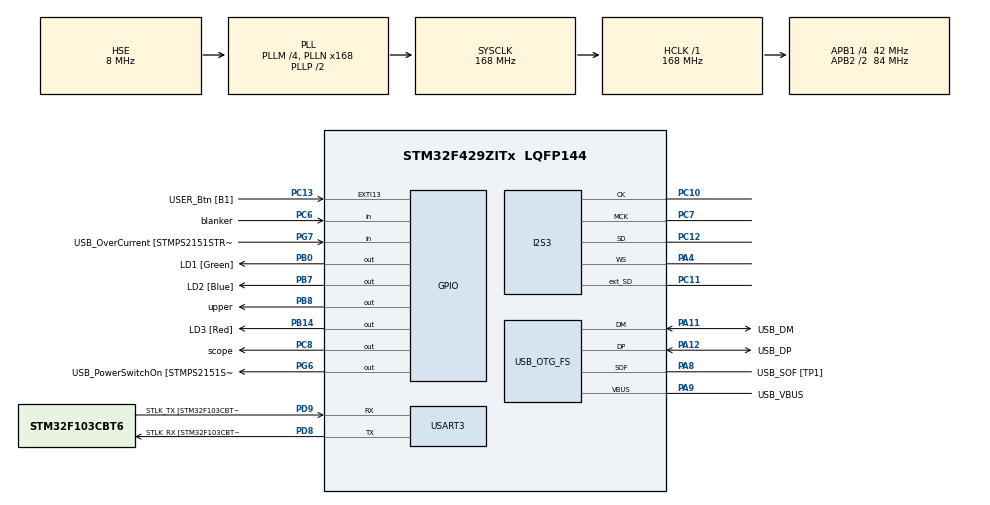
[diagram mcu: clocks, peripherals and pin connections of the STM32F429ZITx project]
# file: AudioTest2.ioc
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Dma.I2S3_EXT_RX.0.Direction=DMA_PERIPH_TO_MEMORY
Dma.I2S3_EXT_RX.0.FIFOMode=DMA_FIFOMODE_DISABLE
Dma.I2S3_EXT_RX.0.Instance=DMA1_Stream0
Dma.I2S3_EXT_RX.0.MemDataAlignment=DMA_MDATAALIGN_HALFWORD
Dma.I2S3_EXT_RX.0.MemInc=DMA_MINC_ENABLE
Dma.I2S3_EXT_RX.0.Mode=DMA_CIRCULAR
Dma.I2S3_EXT_RX.0.PeriphDataAlignment=DMA_PDATAALIGN_HALFWORD
Dma.I2S3_EXT_RX.0.PeriphInc=DMA_PINC_DISABLE
Dma.I2S3_EXT_RX.0.Priority=DMA_PRIORITY_HIGH
Dma.Request0=I2S3_EXT_RX
Dma.Request1=SPI3_TX
Dma.Request2=USART3_TX
Dma.Request3=USART3_RX
Dma.SPI3_TX.1.Direction=DMA_MEMORY_TO_PERIPH
Dma.SPI3_TX.1.FIFOMode=DMA_FIFOMODE_DISABLE
Dma.SPI3_TX.1.Instance=DMA1_Stream5
Dma.SPI3_TX.1.MemDataAlignment=DMA_MDATAALIGN_HALFWORD
Dma.SPI3_TX.1.MemInc=DMA_MINC_ENABLE
Dma.SPI3_TX.1.Mode=DMA_CIRCULAR
Dma.SPI3_TX.1.PeriphDataAlignment=DMA_PDATAALIGN_HALFWORD
Dma.SPI3_TX.1.PeriphInc=DMA_PINC_DISABLE
Dma.SPI3_TX.1.Priority=DMA_PRIORITY_HIGH
Dma.USART3_RX.3.Direction=DMA_PERIPH_TO_MEMORY
Dma.USART3_RX.3.FIFOMode=DMA_FIFOMODE_DISABLE
Dma.USART3_RX.3.Instance=DMA1_Stream1
Dma.USART3_RX.3.MemDataAlignment=DMA_MDATAALIGN_BYTE
Dma.USART3_RX.3.MemInc=DMA_MINC_ENABLE
Dma.USART3_RX.3.Mode=DMA_NORMAL
Dma.USART3_RX.3.PeriphDataAlignment=DMA_PDATAALIGN_BYTE
Dma.USART3_RX.3.PeriphInc=DMA_PINC_DISABLE
Dma.USART3_RX.3.Priority=DMA_PRIORITY_LOW
Dma.USART3_TX.2.Direction=DMA_MEMORY_TO_PERIPH
Dma.USART3_TX.2.FIFOMode=DMA_FIFOMODE_DISABLE
Dma.USART3_TX.2.Instance=DMA1_Stream3
Dma.USART3_TX.2.MemDataAlignment=DMA_MDATAALIGN_BYTE
Dma.USART3_TX.2.MemInc=DMA_MINC_ENABLE
Dma.USART3_TX.2.Mode=DMA_NORMAL
Dma.USART3_TX.2.PeriphDataAlignment=DMA_PDATAALIGN_BYTE
Dma.USART3_TX.2.PeriphInc=DMA_PINC_DISABLE
Dma.USART3_TX.2.Priority=DMA_PRIORITY_LOW
I2S3.AudioFreq=I2S_AUDIOFREQ_96K
I2S3.DataFormat=I2S_DATAFORMAT_24B
I2S3.ErrorAudioFreq=-2.34 %
I2S3.FullDuplexMode=I2S_FULLDUPLEXMODE_ENABLE
I2S3.Instance=SPI$Index
I2S3.RealAudioFreq=93.75 KHz
I2S3.VirtualMode=I2S_MODE_MASTER
Mcu.Family=STM32F4
Mcu.Name=STM32F429ZITx
Mcu.Package=LQFP144
NVIC.DMA1_Stream0_IRQn=true\:0\:0\:false\:false\:true\:false\:true
NVIC.DMA1_Stream1_IRQn=true\:0\:0\:false\:false\:true\:false\:true
NVIC.DMA1_Stream3_IRQn=true\:0\:0\:false\:false\:true\:false\:true
NVIC.DMA1_Stream5_IRQn=true\:0\:0\:false\:false\:true\:false\:true
NVIC.PriorityGroup=NVIC_PRIORITYGROUP_4
PA11.GPIO_Label=USB_DM
PA11.Mode=Device_Only
PA11.Signal=USB_OTG_FS_DM
PA12.GPIO_Label=USB_DP
PA12.Mode=Device_Only
PA12.Signal=USB_OTG_FS_DP
PA13.GPIO_Label=TMS
PA13.Mode=Serial_Wire
PA13.Signal=SYS_JTMS-SWDIO
PA14.GPIO_Label=TCK
PA14.Mode=Serial_Wire
PA14.Signal=SYS_JTCK-SWCLK
PA4.Mode=Full_Duplex_Master
PA4.Signal=I2S3_WS
PA8.GPIO_Label=USB_SOF [TP1]
PA8.Mode=Activate_SOF_FS
PA8.Signal=USB_OTG_FS_SOF
PA9.GPIO_Label=USB_VBUS
PA9.Mode=Activate_VBUS
PA9.Signal=USB_OTG_FS_VBUS
PB0.GPIO_Label=LD1 [Green]
PB0.Signal=GPIO_Output
PB14.GPIO_Label=LD3 [Red]
PB14.Signal=GPIO_Output
PB7.GPIO_Label=LD2 [Blue]
PB7.Signal=GPIO_Output
PB8.GPIO_Label=upper
PB8.GPIO_Speed=GPIO_SPEED_FREQ_VERY_HIGH
PB8.PinState=GPIO_PIN_RESET
PB8.Signal=GPIO_Output
PC10.Mode=Full_Duplex_Master
PC10.Signal=I2S3_CK
PC11.Mode=Full_Duplex_Master
PC11.Signal=I2S3_ext_SD
PC12.Mode=Full_Duplex_Master
PC12.Signal=I2S3_SD
PC13.GPIO_Label=USER_Btn [B1]
PC13.Signal=GPXTI13
PC14/OSC32_IN.Mode=LSE-External-Oscillator
PC14/OSC32_IN.Signal=RCC_OSC32_IN
PC15/OSC32_OUT.Mode=LSE-External-Oscillator
PC15/OSC32_OUT.Signal=RCC_OSC32_OUT
PC6.GPIO_Label=blanker
PC6.Signal=GPIO_Input
PC7.Mode=Master_Clock_Activated
PC7.Signal=I2S3_MCK
PC8.GPIO_Label=scope
PC8.GPIO_Speed=GPIO_SPEED_FREQ_VERY_HIGH
PC8.Signal=GPIO_Output
PD8.GPIO_Label=STLK_RX [STM32F103CBT6_PA3]
PD8.Mode=Asynchronous
PD8.Signal=USART3_TX
PD9.GPIO_Label=STLK_TX [STM32F103CBT6_PA2]
PD9.Mode=Asynchronous
PD9.Signal=USART3_RX
PG6.GPIO_Label=USB_PowerSwitchOn [STMPS2151STR_EN]
PG6.Signal=GPIO_Output
PG7.GPIO_Label=USB_OverCurrent [STMPS2151STR_FAULT]
PG7.Signal=GPIO_Input
PH0/OSC_IN.GPIO_Label=MCO [STM32F103CBT6_PA8]
PH0/OSC_IN.Mode=HSE-External-Clock-Source
PH0/OSC_IN.Signal=RCC_OSC_IN
PH1/OSC_OUT.Mode=HSE-External-Clock-Source
PH1/OSC_OUT.Signal=RCC_OSC_OUT
ProjectManager.HeapSize=0x200
ProjectManager.StackSize=0x400
ProjectManager.TargetToolchain=STM32CubeIDE
RCC.48MHZClocksFreq_Value=48000000
RCC.AHBFreq_Value=168000000
RCC.APB1CLKDivider=RCC_HCLK_DIV4
RCC.APB1Freq_Value=42000000
RCC.APB1TimFreq_Value=84000000
RCC.APB2CLKDivider=RCC_HCLK_DIV2
RCC.APB2Freq_Value=84000000
RCC.APB2TimCLKDivider=2
RCC.APB2TimFreq_Value=168000000
RCC.CortexFreq_Value=168000000
RCC.HCLKFreq_Value=168000000
RCC.HSE_VALUE=8000000
RCC.HSI_VALUE=16000000
RCC.PLLM=4
RCC.PLLMUL=RCC_PLL_MUL9
RCC.PLLN=168
RCC.PLLQ=7
RCC.PRESCALERUSB=RCC_USBCLKSOURCE_PLL_DIV1_5
RCC.SYSCLKFreq_VALUE=168000000
RCC.SYSCLKSource=RCC_SYSCLKSOURCE_PLLCLK
RCC.SYSCLKSourceVirtual=RCC_SYSCLKSOURCE_PLLCLK
RCC.USBFreq_Value=48000000
RCC.VCOOutputFreq_Value=336000000
USART3.VirtualMode=VM_ASYNC
USB_OTG_FS.VirtualMode=Device_Only
VP_CRC_VS_CRC.Mode=CRC_Activate
VP_RNG_VS_RNG.Mode=RNG_Activate
board=NUCLEO-F429ZI

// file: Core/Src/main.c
/* USER CODE BEGIN Header */
/**
  ******************************************************************************
  * @file           : main.c
  * @brief          : Main program body
  ******************************************************************************
  * @attention
  *
  * <h2><center>&copy; Copyright (c) 2021 STMicroelectronics.
  * All rights reserved.</center></h2>
  *
  * This software component is licensed by ST under BSD 3-Clause license,
  * the "License"; You may not use this file except in compliance with the
  * License. You may obtain a copy of the License at:
  *                        opensource.org/licenses/BSD-3-Clause
  *
  ******************************************************************************
  */
/* USER CODE END Header */
#include "main.h"

/* USER CODE BEGIN Includes */
#include <stdio.h>
#include <stdlib.h>
#include <stdbool.h>
#include "fifo_buff.h"

/* USER CODE END Includes */

/* USER CODE BEGIN PD */

#define BUFF_SIZE 10000U /* total size of buffer   = For Test */
#define DAC_SEPERATION 1000U

/* USER CODE END PD */

CRC_HandleTypeDef hcrc;

I2S_HandleTypeDef hi2s3;
DMA_HandleTypeDef hdma_i2s3_ext_rx;
DMA_HandleTypeDef hdma_spi3_tx;

RNG_HandleTypeDef hrng;

UART_HandleTypeDef huart3;
DMA_HandleTypeDef hdma_usart3_tx;
DMA_HandleTypeDef hdma_usart3_rx;

PCD_HandleTypeDef hpcd_USB_OTG_FS;

/* USER CODE BEGIN PV */

// Setup Variables
uint16_t rx_buf[8];
uint16_t tx_buf[8];

fifo_t audioFifo;
fifo_t stateFifo;
fifo_t stateCountFifo;

static bool dac_enable = false;
volatile uint32_t sample_counter = 0;

/* USER CODE END PV */

void SystemClock_Config(void);
static void MX_GPIO_Init(void);
static void MX_DMA_Init(void);
static void MX_USART3_UART_Init(void);
static void MX_USB_OTG_FS_PCD_Init(void);
static void MX_CRC_Init(void);
static void MX_RNG_Init(void);
static void MX_I2S3_Init(void);

/* USER CODE BEGIN 0 */
static int audio_buffer[BUFF_SIZE];  // 32 bit buffer for data storage

/* USER CODE END 0 */

int main(void)
{

  /* MCU Configuration--------------------------------------------------------*/

  /* Reset of all peripherals, Initializes the Flash interface and the Systick. */
  HAL_Init();

  /* Configure the system clock */
  SystemClock_Config();

  /* Initialize all configured peripherals */
  MX_GPIO_Init();
  MX_DMA_Init();
  MX_USART3_UART_Init();
  MX_USB_OTG_FS_PCD_Init();
  MX_CRC_Init();
  MX_RNG_Init();
  MX_I2S3_Init();
  /* USER CODE BEGIN 2 */

  printf("DUVITECH Copyright 2021\r\n");

  // initialize buffers
  dac_enable = false;
  fifo_init(&audioFifo, audio_buffer, BUFF_SIZE);

  // establish dma connection
  HAL_I2SEx_TransmitReceive_DMA(&hi2s3, tx_buf, rx_buf, 4);

  /* USER CODE END 2 */

  /* Infinite loop */
  /* USER CODE BEGIN WHILE */
  while (1)
  {
	HAL_GPIO_TogglePin(LD1_GPIO_Port, LD1_Pin);
	HAL_Delay(200);
	HAL_GPIO_TogglePin(LD2_GPIO_Port, LD2_Pin);
	HAL_GPIO_TogglePin(LD1_GPIO_Port, LD1_Pin);
	HAL_Delay(200);
	HAL_GPIO_TogglePin(LD2_GPIO_Port, LD2_Pin);

    /* USER CODE END WHILE */

  }
}

void SystemClock_Config(void)
{
  RCC_OscInitTypeDef RCC_OscInitStruct = {0};
  RCC_ClkInitTypeDef RCC_ClkInitStruct = {0};

  /** Configure the main internal regulator output voltage
  */
  __HAL_RCC_PWR_CLK_ENABLE();
  __HAL_PWR_VOLTAGESCALING_CONFIG(PWR_REGULATOR_VOLTAGE_SCALE1);
  /** Initializes the RCC Oscillators according to the specified parameters
  * in the RCC_OscInitTypeDef structure.
  */
  RCC_OscInitStruct.OscillatorType = RCC_OSCILLATORTYPE_HSE;
  RCC_OscInitStruct.HSEState = RCC_HSE_BYPASS;
  RCC_OscInitStruct.PLL.PLLState = RCC_PLL_ON;
  RCC_OscInitStruct.PLL.PLLSource = RCC_PLLSOURCE_HSE;
  RCC_OscInitStruct.PLL.PLLM = 4;
  RCC_OscInitStruct.PLL.PLLN = 168;
  RCC_OscInitStruct.PLL.PLLP = RCC_PLLP_DIV2;
  RCC_OscInitStruct.PLL.PLLQ = 7;
  if (HAL_RCC_OscConfig(&RCC_OscInitStruct) != HAL_OK)
  {
    Error_Handler();
  }
  /** Initializes the CPU, AHB and APB buses clocks
  */
  RCC_ClkInitStruct.ClockType = RCC_CLOCKTYPE_HCLK|RCC_CLOCKTYPE_SYSCLK
                              |RCC_CLOCKTYPE_PCLK1|RCC_CLOCKTYPE_PCLK2;
  RCC_ClkInitStruct.SYSCLKSource = RCC_SYSCLKSOURCE_PLLCLK;
  RCC_ClkInitStruct.AHBCLKDivider = RCC_SYSCLK_DIV1;
  RCC_ClkInitStruct.APB1CLKDivider = RCC_HCLK_DIV4;
  RCC_ClkInitStruct.APB2CLKDivider = RCC_HCLK_DIV2;

  if (HAL_RCC_ClockConfig(&RCC_ClkInitStruct, FLASH_LATENCY_5) != HAL_OK)
  {
    Error_Handler();
  }
}

static void MX_CRC_Init(void)
{

  hcrc.Instance = CRC;
  if (HAL_CRC_Init(&hcrc) != HAL_OK)
  {
    Error_Handler();
  }

}

static void MX_I2S3_Init(void)
{

  hi2s3.Instance = SPI3;
  hi2s3.Init.Mode = I2S_MODE_MASTER_TX;
  hi2s3.Init.Standard = I2S_STANDARD_PHILIPS;
  hi2s3.Init.DataFormat = I2S_DATAFORMAT_24B;
  hi2s3.Init.MCLKOutput = I2S_MCLKOUTPUT_ENABLE;
  hi2s3.Init.AudioFreq = I2S_AUDIOFREQ_96K;
  hi2s3.Init.CPOL = I2S_CPOL_LOW;
  hi2s3.Init.ClockSource = I2S_CLOCK_PLL;
  hi2s3.Init.FullDuplexMode = I2S_FULLDUPLEXMODE_ENABLE;
  if (HAL_I2S_Init(&hi2s3) != HAL_OK)
  {
    Error_Handler();
  }

}

static void MX_RNG_Init(void)
{

  hrng.Instance = RNG;
  if (HAL_RNG_Init(&hrng) != HAL_OK)
  {
    Error_Handler();
  }

}

static void MX_USART3_UART_Init(void)
{

  huart3.Instance = USART3;
  huart3.Init.BaudRate = 115200;
  huart3.Init.WordLength = UART_WORDLENGTH_8B;
  huart3.Init.StopBits = UART_STOPBITS_1;
  huart3.Init.Parity = UART_PARITY_NONE;
  huart3.Init.Mode = UART_MODE_TX_RX;
  huart3.Init.HwFlowCtl = UART_HWCONTROL_NONE;
  huart3.Init.OverSampling = UART_OVERSAMPLING_16;
  if (HAL_UART_Init(&huart3) != HAL_OK)
  {
    Error_Handler();
  }

}

static void MX_USB_OTG_FS_PCD_Init(void)
{

  hpcd_USB_OTG_FS.Instance = USB_OTG_FS;
  hpcd_USB_OTG_FS.Init.dev_endpoints = 4;
  hpcd_USB_OTG_FS.Init.speed = PCD_SPEED_FULL;
  hpcd_USB_OTG_FS.Init.dma_enable = DISABLE;
  hpcd_USB_OTG_FS.Init.phy_itface = PCD_PHY_EMBEDDED;
  hpcd_USB_OTG_FS.Init.Sof_enable = ENABLE;
  hpcd_USB_OTG_FS.Init.low_power_enable = DISABLE;
  hpcd_USB_OTG_FS.Init.lpm_enable = DISABLE;
  hpcd_USB_OTG_FS.Init.vbus_sensing_enable = ENABLE;
  hpcd_USB_OTG_FS.Init.use_dedicated_ep1 = DISABLE;
  if (HAL_PCD_Init(&hpcd_USB_OTG_FS) != HAL_OK)
  {
    Error_Handler();
  }

}

static void MX_DMA_Init(void)
{

  /* DMA controller clock enable */
  __HAL_RCC_DMA1_CLK_ENABLE();

  /* DMA interrupt init */
  /* DMA1_Stream0_IRQn interrupt configuration */
  HAL_NVIC_SetPriority(DMA1_Stream0_IRQn, 0, 0);
  HAL_NVIC_EnableIRQ(DMA1_Stream0_IRQn);
  /* DMA1_Stream1_IRQn interrupt configuration */
  HAL_NVIC_SetPriority(DMA1_Stream1_IRQn, 0, 0);
  HAL_NVIC_EnableIRQ(DMA1_Stream1_IRQn);
  /* DMA1_Stream3_IRQn interrupt configuration */
  HAL_NVIC_SetPriority(DMA1_Stream3_IRQn, 0, 0);
  HAL_NVIC_EnableIRQ(DMA1_Stream3_IRQn);
  /* DMA1_Stream5_IRQn interrupt configuration */
  HAL_NVIC_SetPriority(DMA1_Stream5_IRQn, 0, 0);
  HAL_NVIC_EnableIRQ(DMA1_Stream5_IRQn);

}

static void MX_GPIO_Init(void)
{
  GPIO_InitTypeDef GPIO_InitStruct = {0};

  /* GPIO Ports Clock Enable */
  __HAL_RCC_GPIOC_CLK_ENABLE();
  __HAL_RCC_GPIOH_CLK_ENABLE();
  __HAL_RCC_GPIOA_CLK_ENABLE();
  __HAL_RCC_GPIOB_CLK_ENABLE();
  __HAL_RCC_GPIOD_CLK_ENABLE();
  __HAL_RCC_GPIOG_CLK_ENABLE();

  /*Configure GPIO pin Output Level */
  HAL_GPIO_WritePin(GPIOB, LD1_Pin|LD3_Pin|LD2_Pin|upper_Pin, GPIO_PIN_RESET);

  /*Configure GPIO pin Output Level */
  HAL_GPIO_WritePin(USB_PowerSwitchOn_GPIO_Port, USB_PowerSwitchOn_Pin, GPIO_PIN_RESET);

  /*Configure GPIO pin Output Level */
  HAL_GPIO_WritePin(scope_GPIO_Port, scope_Pin, GPIO_PIN_RESET);

  /*Configure GPIO pin : USER_Btn_Pin */
  GPIO_InitStruct.Pin = USER_Btn_Pin;
  GPIO_InitStruct.Mode = GPIO_MODE_IT_RISING;
  GPIO_InitStruct.Pull = GPIO_NOPULL;
  HAL_GPIO_Init(USER_Btn_GPIO_Port, &GPIO_InitStruct);

  /*Configure GPIO pins : LD1_Pin LD3_Pin LD2_Pin */
  GPIO_InitStruct.Pin = LD1_Pin|LD3_Pin|LD2_Pin;
  GPIO_InitStruct.Mode = GPIO_MODE_OUTPUT_PP;
  GPIO_InitStruct.Pull = GPIO_NOPULL;
  GPIO_InitStruct.Speed = GPIO_SPEED_FREQ_LOW;
  HAL_GPIO_Init(GPIOB, &GPIO_InitStruct);

  /*Configure GPIO pin : USB_PowerSwitchOn_Pin */
  GPIO_InitStruct.Pin = USB_PowerSwitchOn_Pin;
  GPIO_InitStruct.Mode = GPIO_MODE_OUTPUT_PP;
  GPIO_InitStruct.Pull = GPIO_NOPULL;
  GPIO_InitStruct.Speed = GPIO_SPEED_FREQ_LOW;
  HAL_GPIO_Init(USB_PowerSwitchOn_GPIO_Port, &GPIO_InitStruct);

  /*Configure GPIO pin : USB_OverCurrent_Pin */
  GPIO_InitStruct.Pin = USB_OverCurrent_Pin;
  GPIO_InitStruct.Mode = GPIO_MODE_INPUT;
  GPIO_InitStruct.Pull = GPIO_NOPULL;
  HAL_GPIO_Init(USB_OverCurrent_GPIO_Port, &GPIO_InitStruct);

  /*Configure GPIO pin : blanker_Pin */
  GPIO_InitStruct.Pin = blanker_Pin;
  GPIO_InitStruct.Mode = GPIO_MODE_INPUT;
  GPIO_InitStruct.Pull = GPIO_NOPULL;
  HAL_GPIO_Init(blanker_GPIO_Port, &GPIO_InitStruct);

  /*Configure GPIO pin : scope_Pin */
  GPIO_InitStruct.Pin = scope_Pin;
  GPIO_InitStruct.Mode = GPIO_MODE_OUTPUT_PP;
  GPIO_InitStruct.Pull = GPIO_NOPULL;
  GPIO_InitStruct.Speed = GPIO_SPEED_FREQ_VERY_HIGH;
  HAL_GPIO_Init(scope_GPIO_Port, &GPIO_InitStruct);

  /*Configure GPIO pin : upper_Pin */
  GPIO_InitStruct.Pin = upper_Pin;
  GPIO_InitStruct.Mode = GPIO_MODE_OUTPUT_PP;
  GPIO_InitStruct.Pull = GPIO_NOPULL;
  GPIO_InitStruct.Speed = GPIO_SPEED_FREQ_VERY_HIGH;
  HAL_GPIO_Init(upper_GPIO_Port, &GPIO_InitStruct);

}

/* USER CODE BEGIN 4 */
void HAL_I2SEx_TxRxHalfCpltCallback(I2S_HandleTypeDef *hi2s)
{
  HAL_GPIO_WritePin(scope_GPIO_Port, scope_Pin, GPIO_PIN_SET);

  // form L and R sample
  int left_in = (((int)rx_buf[0] << 16) | rx_buf[1]) >> 8; // shift right by 8 to right justify the 24 bit sample
  int right_in = (((int)rx_buf[2] << 16) | rx_buf[3]) >> 8;

  fifo_write(&audioFifo, &left_in, 1);
  fifo_write(&audioFifo, &right_in, 1);

  // pass through
  if(dac_enable){
	  int left_out = 0;
	  int right_out = 0;
	  fifo_read(&audioFifo, &left_out, 1);
	  fifo_read(&audioFifo, &right_out, 1);

	  // disassemble L and R samples into half words and store in tx_buf
	  tx_buf[0] = (left_out >> 8) & 0xFFFF;
	  tx_buf[1] = left_out & 0xFFFF;
	  tx_buf[2] = (right_out >> 8) & 0xFFFF;
	  tx_buf[3] = right_out & 0xFFFF;
  }else{
	if (sample_counter >= DAC_SEPERATION-1) {
	  dac_enable = true;
	}
  }
  sample_counter++;
  HAL_GPIO_WritePin(scope_GPIO_Port, scope_Pin, GPIO_PIN_RESET);
}

void HAL_I2SEx_TxRxCpltCallback(I2S_HandleTypeDef *hi2s)
{
  HAL_GPIO_WritePin(upper_GPIO_Port, upper_Pin, GPIO_PIN_SET);

  // form L and R sample
  int left_in = (((int)rx_buf[4] << 16) | rx_buf[5]) >> 8; // shift right by 8 to right justify the 24 bit sample
  int right_in = (((int)rx_buf[6] << 16) | rx_buf[7]) >> 8;

  fifo_write(&audioFifo, &left_in, 1);
  fifo_write(&audioFifo, &right_in, 1);

  // pass through
  if(dac_enable){
	  int left_out = 0;
	  int right_out = 0;
	  fifo_read(&audioFifo, &left_out, 1);
	  fifo_read(&audioFifo, &right_out, 1);

	  // disassemble L and R samples into half words and store in tx_buf
	  tx_buf[4] = (left_out >> 8) & 0xFFFF;
	  tx_buf[5] = left_out & 0xFFFF;
	  tx_buf[6] = (right_out >> 8) & 0xFFFF;
	  tx_buf[7] = right_out & 0xFFFF;
  }else{
	if (sample_counter >= DAC_SEPERATION-1) {
	  dac_enable = true;
	}
  }
  sample_counter++;
  HAL_GPIO_WritePin(upper_GPIO_Port, upper_Pin, GPIO_PIN_RESET);
}

/* USER CODE END 4 */

void Error_Handler(void)
{
  /* USER CODE BEGIN Error_Handler_Debug */
  HAL_GPIO_TogglePin(LD3_GPIO_Port, LD3_Pin);
  /* User can add his own implementation to report the HAL error return state */
  __disable_irq();
  while (1)
  {
  }
  /* USER CODE END Error_Handler_Debug */
}
